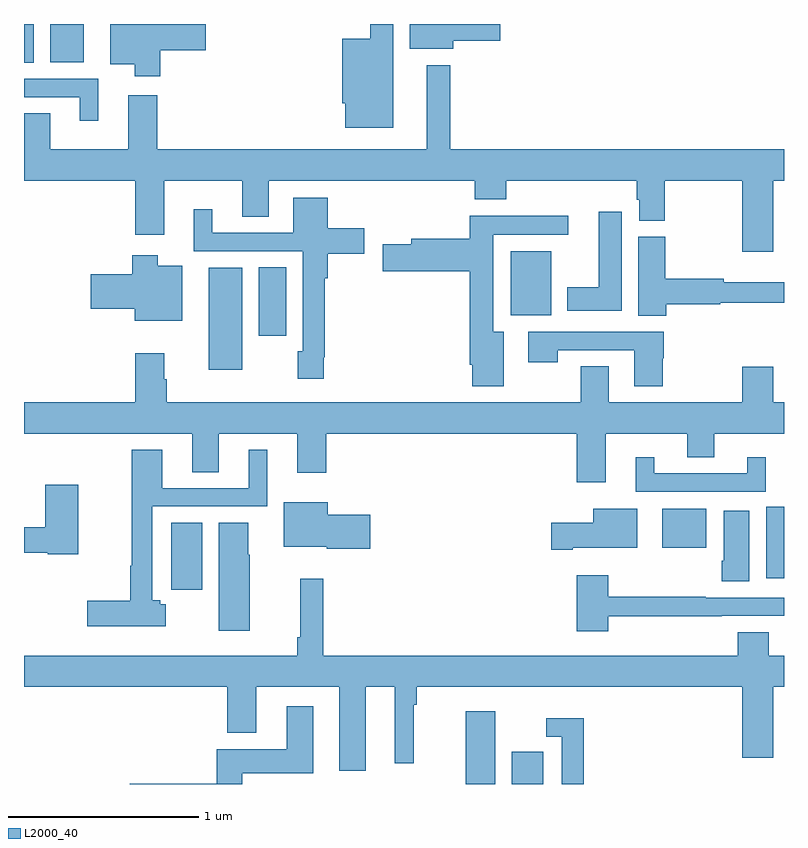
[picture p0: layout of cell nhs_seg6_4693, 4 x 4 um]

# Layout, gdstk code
import gdstk
lib = gdstk.Library(unit=1e-6, precision=1e-09)
def R(c, l, rs):  # rectangles x0, y0, x1, y1
    for r in rs: c.add(gdstk.rectangle(r[:2], r[2:], *l))
def P(c, l, *ps):  # polygons
    for p in ps: c.add(gdstk.Polygon(p, *l))
L2000_40 = (2000, 40)

nhs_seg6_4693 = lib.new_cell('nhs_seg6_4693')
R(nhs_seg6_4693, L2000_40, [(391.325,937.5,391.48,937.882), (391.568,937.5,391.732,937.669), (392.906,938.583,393,938.958), (392.36,938.744,392.59,938.95), (389.972,939.68,390.148,940.216), (390.236,939.858,390.379,940.22), (391.562,939.968,391.774,940.303), (389,941.296,389.05,941.5), (389.138,941.3,389.314,941.5)])
P(nhs_seg6_4693, L2000_40, [(390.943,941.5),(390.822,941.5),(390.822,941.422),(390.674,941.422),(390.674,941.082),(390.692,941.082),(390.692,940.955),(390.943,940.955)],
  [(389.717,941.363),(389.957,941.363),(389.957,941.5),(389.453,941.5),(389.453,941.288),(389.582,941.288),(389.582,941.226),(389.717,941.226)],
  [(391.258,941.411),(391.507,941.411),(391.507,941.5),(391.031,941.5),(391.031,941.369),(391.258,941.369)],
  [(392.944,940.676),(393,940.676),(393,940.84),(391.243,940.84),(391.243,941.284),(391.121,941.284),(391.121,940.84),(389.702,940.84),(389.702,941.125),(389.549,941.125),(389.549,940.84),(389.137,940.84),(389.137,941.03),(389,941.03),(389,940.676),(389.585,940.676),(389.585,940.392),(389.737,940.392),(389.737,940.676),(390.149,940.676),(390.149,940.486),(390.289,940.486),(390.289,940.676),(391.373,940.676),(391.373,940.577),(391.538,940.577),(391.538,940.676),(392.225,940.676),(392.225,940.575),(392.237,940.575),(392.237,940.465),(392.373,940.465),(392.373,940.676),(392.78,940.676),(392.78,940.302),(392.944,940.302)],
  [(389.392,941.211),(389,941.211),(389,941.115),(389.294,941.115),(389.294,940.992),(389.392,940.992)],
  [(390.577,939.745),(390.584,939.745),(390.584,940.163),(390.598,940.163),(390.598,940.292),(390.79,940.292),(390.79,940.426),(390.598,940.426),(390.598,940.585),(390.416,940.585),(390.416,940.401),(389.992,940.401),(389.992,940.525),(389.894,940.525),(389.894,940.305),(390.468,940.305),(390.468,939.777),(390.442,939.777),(390.442,939.633),(390.577,939.633)],
  [(392.146,940.513),(392.024,940.513),(392.024,940.114),(391.859,940.114),(391.859,939.992),(392.146,939.992)],
  [(391.525,939.88),(391.471,939.88),(391.471,940.392),(391.864,940.392),(391.864,940.49),(391.346,940.49),(391.346,940.371),(391.037,940.371),(391.037,940.341),(390.888,940.341),(390.888,940.199),(391.346,940.199),(391.346,939.706),(391.358,939.706),(391.358,939.594),(391.525,939.594)],
  [(392.381,940.024),(392.664,940.024),(392.664,940.032),(393,940.032),(393,940.141),(392.684,940.141),(392.684,940.16),(392.376,940.16),(392.376,940.38),(392.234,940.38),(392.234,939.964),(392.381,939.964)],
  [(389.833,940.228),(389.704,940.228),(389.704,940.282),(389.57,940.282),(389.57,940.184),(389.352,940.184),(389.352,940.001),(389.582,940.001),(389.582,939.938),(389.833,939.938)],
  [(392.361,939.741),(392.366,939.741),(392.366,939.879),(391.653,939.879),(391.653,939.72),(391.809,939.72),(391.809,939.783),(392.213,939.783),(392.213,939.594),(392.361,939.594)],
  [(392.062,939.344),(392.492,939.344),(392.492,939.22),(392.632,939.22),(392.632,939.344),(393,939.344),(393,939.508),(392.944,939.508),(392.944,939.697),(392.78,939.697),(392.78,939.508),(392.077,939.508),(392.077,939.698),(391.93,939.698),(391.93,939.508),(389.75,939.508),(389.75,939.629),(389.737,939.629),(389.737,939.766),(389.585,939.766),(389.585,939.508),(389,939.508),(389,939.344),(389.885,939.344),(389.885,939.142),(390.025,939.142),(390.025,939.344),(390.437,939.344),(390.437,939.138),(390.59,939.138),(390.59,939.344),(391.91,939.344),(391.91,939.087),(392.062,939.087)],
  [(389.747,938.447),(389.718,938.447),(389.718,938.466),(389.676,938.466),(389.676,938.961),(390.28,938.961),(390.28,939.259),(390.182,939.259),(390.182,939.057),(389.728,939.057),(389.728,939.259),(389.568,939.259),(389.568,938.648),(389.56,938.648),(389.56,938.465),(389.334,938.465),(389.334,938.33),(389.747,938.33)],
  [(392.905,939.22),(392.807,939.22),(392.807,939.135),(392.317,939.135),(392.317,939.22),(392.219,939.22),(392.219,939.039),(392.905,939.039)],
  [(389.286,939.076),(389.113,939.076),(389.113,938.852),(389,938.852),(389,938.716),(389.124,938.716),(389.124,938.708),(389.286,938.708)],
  [(390.823,938.916),(390.598,938.916),(390.598,938.983),(390.368,938.983),(390.368,938.75),(390.594,938.75),(390.594,938.738),(390.823,938.738)],
  [(391.888,938.744),(392.227,938.744),(392.227,938.95),(391.997,938.95),(391.997,938.874),(391.776,938.874),(391.776,938.732),(391.888,938.732)],
  [(392.818,938.938),(392.684,938.938),(392.684,938.674),(392.672,938.674),(392.672,938.566),(392.818,938.566)],
  [(389.938,938.876),(389.774,938.876),(389.774,938.635),(389.776,938.635),(389.776,938.523),(389.938,938.523)],
  [(390.187,938.706),(390.181,938.706),(390.181,938.876),(390.026,938.876),(390.026,938.307),(390.187,938.307)],
  [(392.075,938.384),(392.672,938.384),(392.672,938.385),(393,938.385),(393,938.481),(392.588,938.481),(392.588,938.486),(392.075,938.486),(392.075,938.599),(391.91,938.599),(391.91,938.304),(392.075,938.304)],
  [(390.799,938.012),(390.95,938.012),(390.95,937.608),(391.052,937.608),(391.052,937.916),(391.067,937.916),(391.067,938.012),(392.78,938.012),(392.78,937.638),(392.944,937.638),(392.944,938.012),(393,938.012),(393,938.176),(392.921,938.176),(392.921,938.3),(392.756,938.3),(392.756,938.176),(390.575,938.176),(390.575,938.581),(390.454,938.581),(390.454,938.272),(390.439,938.272),(390.439,938.176),(389,938.176),(389,938.012),(390.071,938.012),(390.071,937.769),(390.223,937.769),(390.223,938.012),(390.659,938.012),(390.659,937.571),(390.799,937.571)],
  [(390.148,937.556),(390.523,937.556),(390.523,937.909),(390.383,937.909),(390.383,937.684),(390.014,937.684),(390.014,937.502),(389.556,937.502),(389.556,937.5),(390.148,937.5)],
  [(391.946,937.846),(391.749,937.846),(391.749,937.749),(391.83,937.749),(391.83,937.5),(391.946,937.5)])

lib.write_gds('nhs_seg6_4693.gds')
